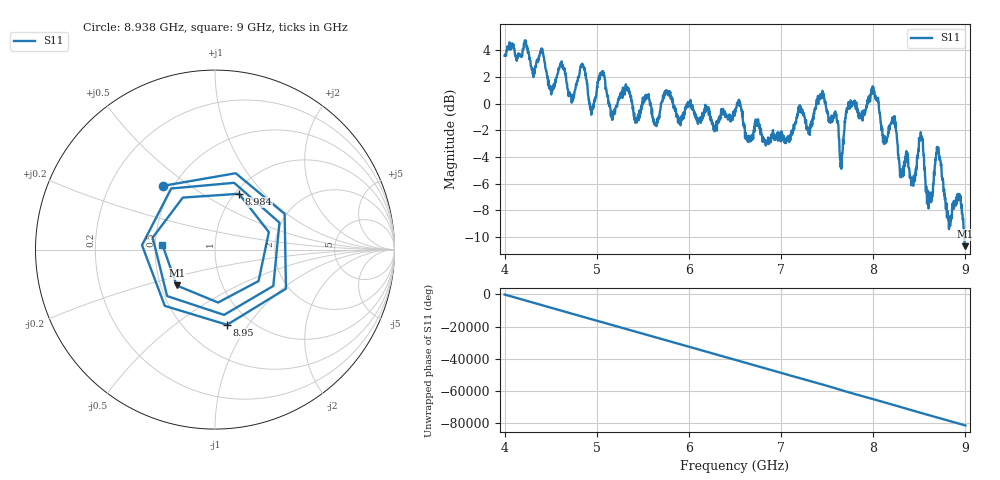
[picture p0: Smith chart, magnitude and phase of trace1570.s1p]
! Created with skrf 1.8.0 (http://scikit-rf.org).
# Hz S RI R 50.0
!freq ReS11 ImS11
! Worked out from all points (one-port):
!   1601 points, 4 GHz to 9 GHz, reference 50 ohm
!   lowest |S11| = -10.7 dB at 8.997 GHz (marker M1), VSWR 1.83, Z = 30.2 - j13.2 ohm
!   |S11| at or under -10 dB: 8.987867 GHz to end of sweep
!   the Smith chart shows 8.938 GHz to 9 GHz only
!   S11 on the Smith chart (normalised r, x): 8.938 GHz: 0.44, +0.40; 8.95 GHz: 0.78, -0.80; 8.984 GHz: 1.05, +0.73; 9 GHz: 0.55, +0.03
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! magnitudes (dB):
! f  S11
! 4 GHz  3.6
! 4.403 GHz  4.1
! 4.506 GHz  0.7
! 4.625 GHz  2.9
! 4.728 GHz  0.1
! 4.847 GHz  2.9
! 4.944 GHz  -0.6
! 5.056 GHz  2.2
! 5.159 GHz  -0.7
! 5.25 GHz  0.5
! 5.875 GHz  -0.9
! 6.5 GHz  -0.5
! 7.125 GHz  -2.3
! 7.444 GHz  0.8
! 7.653 GHz  -4.9
! 7.75 GHz  0.0
! 8.003 GHz  0.9
! 8.375 GHz  -4.3
! 8.438 GHz  -5.7
! 8.516 GHz  -2.1
! 8.609 GHz  -6.8
! 8.7 GHz  -3.4
! 8.825 GHz  -8.5
! 8.938 GHz  -6.8
! 8.95 GHz  -7.4
! 8.984 GHz  -9.4
! 8.997 GHz  -10.7
! 9 GHz  -10.6
